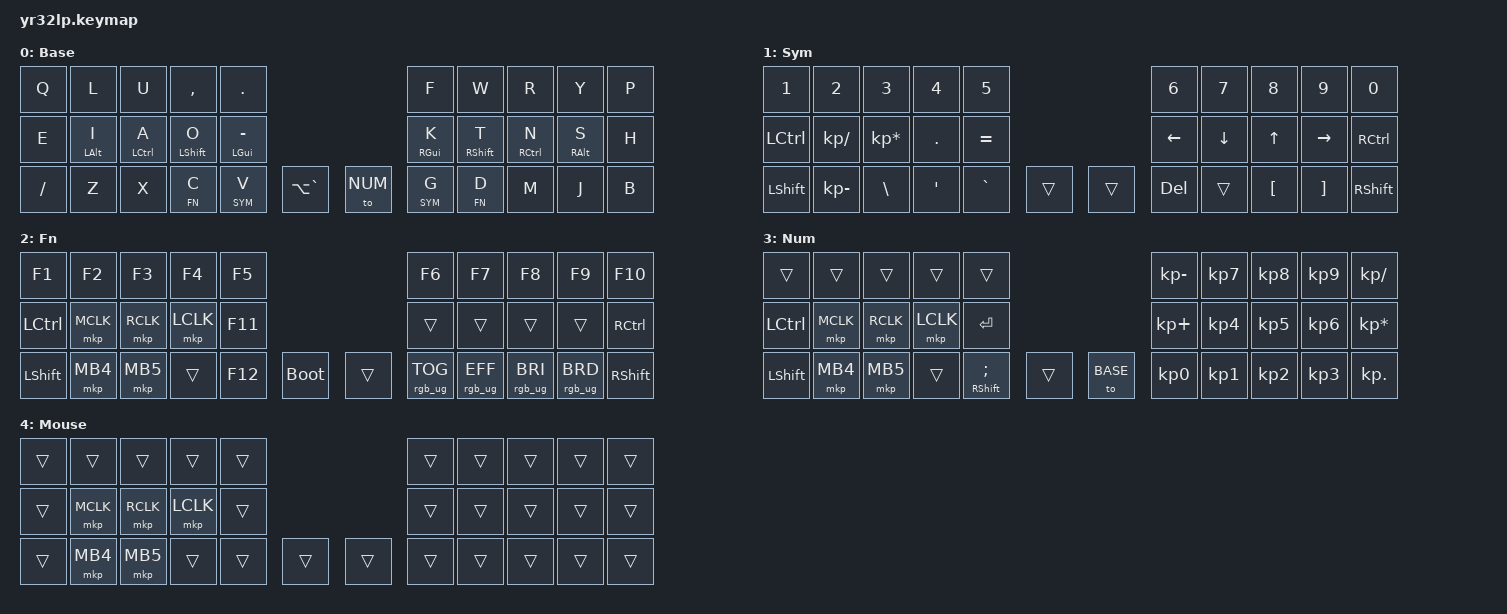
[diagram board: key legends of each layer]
/*
 * yr32lp keymap (QMK版 qmk用/keymaps/via/keymap.c を ZMK に移植)
 *
 * キー番号(コンボで使用)
 *   0  1  2  3  4             5  6  7  8  9
 *  10 11 12 13 14            15 16 17 18 19
 *  20 21 22 23 24  25  26    27 28 29 30 31
 *
 * ※QMK の MT(MO(1),KC_V) などは、QMK では実際には Ctrl/Shift のモッドタップに
 *   なってしまう書き方のため、意図どおりの「レイヤータップ(&lt)」で実装しています。
 */

#include <behaviors.dtsi>
#include <dt-bindings/zmk/input_transform.h>
#include <input/processors.dtsi>
#include <dt-bindings/zmk/keys.h>
#include <dt-bindings/zmk/pointing.h>
#include <dt-bindings/zmk/rgb.h>

#define BASE 0
#define SYM  1
#define FN   2
#define NUM  3
#define MOUS 4

/* QMK の既定 (TAPPING_TERM 200 / ホールドは押し続けたときだけ) に近い設定 */
&mt {
    flavor = "tap-preferred";
    tapping-term-ms = <200>;
    quick-tap-ms = <150>;
};

&lt {
    flavor = "tap-preferred";
    tapping-term-ms = <200>;
    quick-tap-ms = <150>;
};

/* トラックボール
 * ・カーソルの横方向だけ 1.5 倍 (zip_x_scaler 3 2 = 3/2。横を速くするなら 2 1 など)
 *   全体の速さは yr32lp.overlay の scale
 * ・Fn レイヤー中(C か D を長押し)は画面スクロール
 *   ボールを上に転がす = 上にスクロール。速さは zip_scroll_scaler の 1 24 (= 1/24) で調整
 *   (速すぎるときは 24 を大きく、遅すぎるときは小さくする) */
&trackball_listener {
    input-processors = <&zip_x_scaler 3 2>;

    scroller {
        layers = <FN>;
        input-processors =
            <&zip_xy_transform INPUT_TRANSFORM_Y_INVERT>,
            <&zip_xy_to_scroll_mapper>,
            <&zip_scroll_scaler 1 24>;
    };
};

/ {
    combos {
        compatible = "zmk,combos";
        combo_enter  { timeout-ms = <50>; key-positions = <17 18>; bindings = <&kp ENTER>; };      // N + S
        combo_bspc   { timeout-ms = <50>; key-positions = <16 17>; bindings = <&kp BSPC>; };       // T + N
        combo_space  { timeout-ms = <50>; key-positions = <11 12>; bindings = <&kp SPACE>; };      // I + A
        combo_tab    { timeout-ms = <50>; key-positions = <12 13>; bindings = <&kp TAB>; };        // A + O
        combo_sspc   { timeout-ms = <50>; key-positions = <1 2>;   bindings = <&kp LS(SPACE)>; };  // L + U
        combo_esc    { timeout-ms = <50>; key-positions = <8 9>;   bindings = <&kp ESC>; };        // Y + P
        combo_home   { timeout-ms = <50>; key-positions = <15 16>; bindings = <&kp HOME>; };       // K + T
        combo_end    { timeout-ms = <50>; key-positions = <27 28>; bindings = <&kp END>; };        // G + D
        combo_pgup   { timeout-ms = <50>; key-positions = <28 29>; bindings = <&kp PG_UP>; };      // D + M
        combo_pgdn   { timeout-ms = <50>; key-positions = <29 30>; bindings = <&kp PG_DN>; };      // M + J
        combo_ins    { timeout-ms = <50>; key-positions = <6 7>;   bindings = <&kp INS>; };        // W + R
        combo_caps   { timeout-ms = <50>; key-positions = <0 1>;   bindings = <&kp CAPS>; };       // Q + L
    };

    keymap {
        compatible = "zmk,keymap";

        base_layer {
            display-name = "Base";
            bindings = <
&kp Q      &kp L          &kp U           &kp COMMA       &kp DOT                                       &kp F          &kp W           &kp R           &kp Y          &kp P
&kp E      &mt LALT I     &mt LCTRL A     &mt LSHFT O     &mt LGUI MINUS                                &mt RGUI K     &mt RSHFT T     &mt RCTRL N     &mt RALT S     &kp H
&kp SLASH  &kp Z          &kp X           &lt FN C        &lt SYM V       &kp LA(GRAVE)  &to NUM        &lt SYM G      &lt FN D        &kp M           &kp J          &kp B
            >;
        };

        sym_layer {
            display-name = "Sym";
            bindings = <
&kp N1     &kp N2         &kp N3          &kp N4          &kp N5                                        &kp N6         &kp N7          &kp N8          &kp N9         &kp N0
&kp LCTRL  &kp KP_DIVIDE  &kp KP_MULTIPLY &kp DOT         &kp EQUAL                                     &kp LEFT       &kp DOWN        &kp UP          &kp RIGHT      &kp RCTRL
&kp LSHFT  &kp KP_MINUS   &kp BSLH        &kp SQT         &kp GRAVE       &trans         &trans         &kp DEL        &trans          &kp LBKT        &kp RBKT       &kp RSHFT
            >;
        };

        fn_layer {
            display-name = "Fn";
            bindings = <
&kp F1     &kp F2         &kp F3          &kp F4          &kp F5                                        &kp F6         &kp F7          &kp F8          &kp F9         &kp F10
&kp LCTRL  &mkp MCLK      &mkp RCLK       &mkp LCLK       &kp F11                                       &trans         &trans          &trans          &trans         &kp RCTRL
&kp LSHFT  &mkp MB4       &mkp MB5        &trans          &kp F12         &bootloader    &trans         &rgb_ug RGB_TOG &rgb_ug RGB_EFF &rgb_ug RGB_BRI &rgb_ug RGB_BRD &kp RSHFT
            >;
        };

        num_layer {
            display-name = "Num";
            bindings = <
&trans     &trans         &trans          &trans          &trans                                        &kp KP_MINUS   &kp KP_N7       &kp KP_N8       &kp KP_N9      &kp KP_DIVIDE
&kp LCTRL  &mkp MCLK      &mkp RCLK       &mkp LCLK       &kp ENTER                                     &kp KP_PLUS    &kp KP_N4       &kp KP_N5       &kp KP_N6      &kp KP_MULTIPLY
&kp LSHFT  &mkp MB4       &mkp MB5        &trans          &mt RSHFT SEMI  &trans         &to BASE       &kp KP_N0      &kp KP_N1       &kp KP_N2       &kp KP_N3      &kp KP_DOT
            >;
        };

        mouse_layer {
            display-name = "Mouse";
            bindings = <
&trans     &trans         &trans          &trans          &trans                                        &trans         &trans          &trans          &trans         &trans
&trans     &mkp MCLK      &mkp RCLK       &mkp LCLK       &trans                                        &trans         &trans          &trans          &trans         &trans
&trans     &mkp MB4       &mkp MB5        &trans          &trans          &trans         &trans         &trans         &trans          &trans          &trans         &trans
            >;
        };
    };
};
